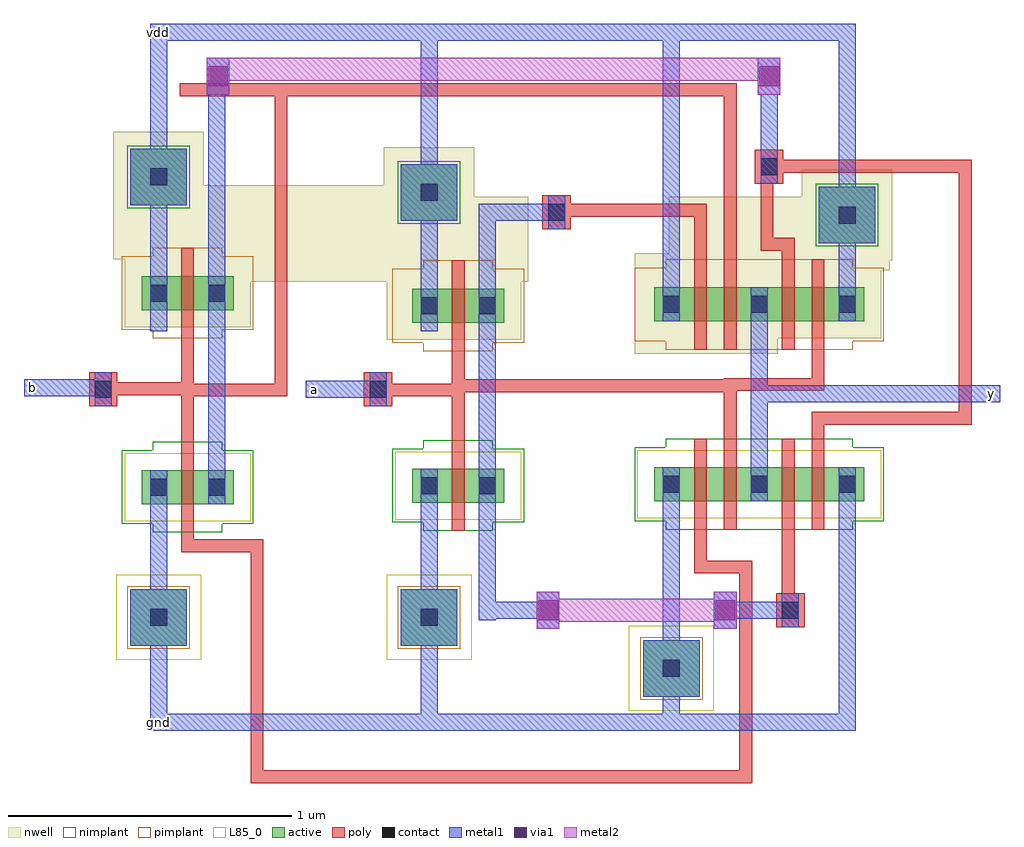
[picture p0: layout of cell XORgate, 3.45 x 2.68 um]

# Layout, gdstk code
from math import pi, radians
import gdstk
lib = gdstk.Library(unit=1e-6, precision=5e-10)
def R(c, l, rs):  # rectangles x0, y0, x1, y1
    for r in rs: c.add(gdstk.rectangle(r[:2], r[2:], *l))
active = (1, 0)
nwell = (2, 0)
poly = (3, 0)
nimplant = (4, 0)
pimplant = (5, 0)
contact = (6, 0)
metal1 = (7, 0)
via1 = (8, 0)
metal2 = (9, 0)
L85_0 = (85, 0)

pmos1v_cdns_761013523100 = lib.new_cell('pmos1v_CDNS_761013523100')
R(pmos1v_cdns_761013523100, active, [(-0.14,0,0,0.12), (0,0,0.045,0.12), (0.045,0,0.185,0.12)])
R(pmos1v_cdns_761013523100, nwell, [(-0.2,-0.06,0.245,0.18)])
R(pmos1v_cdns_761013523100, poly, [(0,-0.1,0.045,-0.05), (0,-0.05,0.045,0), (0,0,0.045,0.12), (0,0.12,0.045,0.17), (0,0.17,0.045,0.22)])
R(pmos1v_cdns_761013523100, pimplant, [(-0.1,-0.1,0.145,0.22), (-0.21,-0.07,0.255,0.19)])
R(pmos1v_cdns_761013523100, contact, [(-0.11,0.03,-0.05,0.09), (0.095,0.03,0.155,0.09)])
R(pmos1v_cdns_761013523100, metal1, [(-0.11,0,-0.05,0.12), (0.095,0,0.155,0.12)])

nmos1v_cdns_761013523101 = lib.new_cell('nmos1v_CDNS_761013523101')
R(nmos1v_cdns_761013523101, active, [(-0.14,0,0,0.12), (0,0,0.045,0.12), (0.045,0,0.185,0.12)])
R(nmos1v_cdns_761013523101, poly, [(0,-0.1,0.045,-0.05), (0,-0.05,0.045,0), (0,0,0.045,0.12), (0,0.12,0.045,0.17), (0,0.17,0.045,0.22)])
R(nmos1v_cdns_761013523101, nimplant, [(-0.1,-0.1,0.145,0.22), (-0.21,-0.07,0.255,0.19)])
R(nmos1v_cdns_761013523101, contact, [(-0.11,0.03,-0.05,0.09), (0.095,0.03,0.155,0.09)])
R(nmos1v_cdns_761013523101, metal1, [(-0.11,0,-0.05,0.12), (0.095,0,0.155,0.12)])
R(nmos1v_cdns_761013523101, L85_0, [(-0.2,-0.06,0.245,0.18)])

pmos1v_cdns_761013523102 = lib.new_cell('pmos1v_CDNS_761013523102')
R(pmos1v_cdns_761013523102, active, [(-0.03,0,0,0.12), (0,0,0.045,0.12), (0.045,0,0.095,0.12)])
R(pmos1v_cdns_761013523102, nwell, [(-0.09,-0.06,0.155,0.18)])
R(pmos1v_cdns_761013523102, poly, [(0,-0.1,0.045,-0.05), (0,-0.05,0.045,0), (0,0,0.045,0.12), (0,0.12,0.045,0.17), (0,0.17,0.045,0.22)])
R(pmos1v_cdns_761013523102, pimplant, [(-0.1,-0.1,0.145,0.22), (-0.1,-0.07,0.165,0.19)])

nmos1v_cdns_761013523103 = lib.new_cell('nmos1v_CDNS_761013523103')
R(nmos1v_cdns_761013523103, active, [(-0.03,0,0,0.12), (0,0,0.045,0.12), (0.045,0,0.095,0.12)])
R(nmos1v_cdns_761013523103, poly, [(0,-0.1,0.045,-0.05), (0,-0.05,0.045,0), (0,0,0.045,0.12), (0,0.12,0.045,0.17), (0,0.17,0.045,0.22)])
R(nmos1v_cdns_761013523103, nimplant, [(-0.1,-0.1,0.145,0.22), (-0.1,-0.07,0.165,0.19)])
R(nmos1v_cdns_761013523103, L85_0, [(-0.09,-0.06,0.155,0.18)])

pmos1v_cdns_761013523104 = lib.new_cell('pmos1v_CDNS_761013523104')
R(pmos1v_cdns_761013523104, active, [(-0.14,0,0,0.12), (0,0,0.045,0.12), (0.045,0,0.075,0.12)])
R(pmos1v_cdns_761013523104, nwell, [(-0.2,-0.06,0.135,0.18)])
R(pmos1v_cdns_761013523104, poly, [(0,-0.1,0.045,-0.05), (0,-0.05,0.045,0), (0,0,0.045,0.12), (0,0.12,0.045,0.17), (0,0.17,0.045,0.22)])
R(pmos1v_cdns_761013523104, pimplant, [(-0.1,-0.1,0.145,0.22), (-0.21,-0.07,0.145,0.19)])
R(pmos1v_cdns_761013523104, contact, [(-0.11,0.03,-0.05,0.09)])
R(pmos1v_cdns_761013523104, metal1, [(-0.11,0,-0.05,0.12)])

pmos1v_cdns_761013523105 = lib.new_cell('pmos1v_CDNS_761013523105')
R(pmos1v_cdns_761013523105, active, [(-0.03,0,0,0.12), (0,0,0.045,0.12), (0.045,0,0.155,0.12)])
R(pmos1v_cdns_761013523105, nwell, [(-0.09,-0.06,0.215,0.18)])
R(pmos1v_cdns_761013523105, poly, [(0,-0.1,0.045,-0.05), (0,-0.05,0.045,0), (0,0,0.045,0.12), (0,0.12,0.045,0.17), (0,0.17,0.045,0.22)])
R(pmos1v_cdns_761013523105, pimplant, [(-0.1,-0.1,0.145,0.22), (-0.1,-0.07,0.225,0.19)])
R(pmos1v_cdns_761013523105, contact, [(0.095,0.03,0.155,0.09)])
R(pmos1v_cdns_761013523105, metal1, [(0.095,0,0.155,0.12)])

nmos1v_cdns_761013523106 = lib.new_cell('nmos1v_CDNS_761013523106')
R(nmos1v_cdns_761013523106, active, [(-0.14,0,0,0.12), (0,0,0.045,0.12), (0.045,0,0.075,0.12)])
R(nmos1v_cdns_761013523106, poly, [(0,-0.1,0.045,-0.05), (0,-0.05,0.045,0), (0,0,0.045,0.12), (0,0.12,0.045,0.17), (0,0.17,0.045,0.22)])
R(nmos1v_cdns_761013523106, nimplant, [(-0.1,-0.1,0.145,0.22), (-0.21,-0.07,0.145,0.19)])
R(nmos1v_cdns_761013523106, contact, [(-0.11,0.03,-0.05,0.09)])
R(nmos1v_cdns_761013523106, metal1, [(-0.11,0,-0.05,0.12)])
R(nmos1v_cdns_761013523106, L85_0, [(-0.2,-0.06,0.135,0.18)])

nmos1v_cdns_761013523107 = lib.new_cell('nmos1v_CDNS_761013523107')
R(nmos1v_cdns_761013523107, active, [(-0.11,0,0,0.12), (0,0,0.045,0.12), (0.045,0,0.075,0.12)])
R(nmos1v_cdns_761013523107, poly, [(0,-0.1,0.045,-0.05), (0,-0.05,0.045,0), (0,0,0.045,0.12), (0,0.12,0.045,0.17), (0,0.17,0.045,0.22)])
R(nmos1v_cdns_761013523107, nimplant, [(-0.1,-0.1,0.145,0.22), (-0.18,-0.07,0.145,0.19)])
R(nmos1v_cdns_761013523107, contact, [(-0.11,0.03,-0.05,0.09)])
R(nmos1v_cdns_761013523107, metal1, [(-0.11,0,-0.05,0.12)])
R(nmos1v_cdns_761013523107, L85_0, [(-0.17,-0.06,0.135,0.18)])

nmos1v_cdns_761013523108 = lib.new_cell('nmos1v_CDNS_761013523108')
R(nmos1v_cdns_761013523108, active, [(-0.14,0,0,0.12), (0,0,0.045,0.12), (0.045,0,0.075,0.12)])
R(nmos1v_cdns_761013523108, poly, [(0,-0.1,0.045,-0.05), (0,-0.05,0.045,0), (0,0,0.045,0.12), (0,0.12,0.045,0.17), (0,0.17,0.045,0.22)])
R(nmos1v_cdns_761013523108, nimplant, [(-0.1,-0.1,0.145,0.22), (-0.21,-0.07,0.145,0.19)])
R(nmos1v_cdns_761013523108, contact, [(-0.11,0.03,-0.05,0.09)])
R(nmos1v_cdns_761013523108, metal1, [(-0.11,0,-0.05,0.12)])
R(nmos1v_cdns_761013523108, L85_0, [(-0.2,-0.06,0.135,0.18)])

m1_nwell_cdns_7610135231 = lib.new_cell('M1_NWELL_CDNS_761013523100')
R(m1_nwell_cdns_7610135231, active, [(-0.1,-0.1,0.1,0.1)])
R(m1_nwell_cdns_7610135231, nwell, [(-0.16,-0.16,0.16,0.16)])
R(m1_nwell_cdns_7610135231, nimplant, [(-0.11,-0.11,0.11,0.11)])
R(m1_nwell_cdns_7610135231, contact, [(-0.03,-0.03,0.03,0.03)])
R(m1_nwell_cdns_7610135231, metal1, [(-0.1,-0.1,0.1,0.1)])

m1_psub_cdns_76101352310 = lib.new_cell('M1_PSUB_CDNS_761013523101')
R(m1_psub_cdns_76101352310, active, [(-0.1,-0.1,0.1,0.1)])
R(m1_psub_cdns_76101352310, pimplant, [(-0.11,-0.11,0.11,0.11)])
R(m1_psub_cdns_76101352310, contact, [(-0.03,-0.03,0.03,0.03)])
R(m1_psub_cdns_76101352310, metal1, [(-0.1,-0.1,0.1,0.1)])
R(m1_psub_cdns_76101352310, L85_0, [(-0.15,-0.15,0.15,0.15)])

m1_po_cdns_761013523102 = lib.new_cell('M1_PO_CDNS_761013523102')
R(m1_po_cdns_761013523102, poly, [(-0.05,-0.06,0.05,0.06)])
R(m1_po_cdns_761013523102, contact, [(-0.03,-0.03,0.03,0.03)])
R(m1_po_cdns_761013523102, metal1, [(-0.03,-0.06,0.03,0.06)])

m2_m1_cdns_761013523103 = lib.new_cell('M2_M1_CDNS_761013523103')
R(m2_m1_cdns_761013523103, metal1, [(-0.04,-0.065,0.04,0.065)])
R(m2_m1_cdns_761013523103, via1, [(-0.035,-0.035,0.035,0.035)])
R(m2_m1_cdns_761013523103, metal2, [(-0.04,-0.065,0.04,0.065)])

xorgate = lib.new_cell('XORgate')
R(xorgate, nwell, [(2.155,-1.51,2.66,-1.155), (1.28,-1.46,1.31,-1.255), (2.275,-1.28,2.755,-0.955), (0.625,-1.255,1.28,-0.915), (1.28,-1.255,1.58,-1.21), (1.58,-1.255,1.78,-0.955), (1.275,-1.22,1.58,-1.1), (2.755,-1.215,3.055,-1.19), (2.555,-1.19,3.055,-0.955), (2.795,-1.185,2.93,-1.175), (0.315,-1.175,0.625,-1.045), (1.49,-1.1,1.495,-1.095)])
R(xorgate, metal1, [(0.445,-2.84,0.505,-2.78), (3.385,-1.68,3.445,-1.62), (0.995,-1.665,1.055,-1.605), (0,-1.66,0.06,-1.6), (0.445,-0.405,0.505,-0.345)])
xorgate.add(gdstk.FlexPath([(2.4925,-0.5775),(0.9075,-0.5775)], 0.045, ends="extended", simple_path=True, layer=3, datatype=0))  # poly
xorgate.add(gdstk.FlexPath([(0.5775,-2.14),(0.5775,-2.1875)], 0.045, ends=(0, 0.0225), simple_path=True, layer=3, datatype=0))  # poly
xorgate.add(gdstk.FlexPath([(0.5775,-2.1875),(0.8225,-2.1875)], 0.045, ends="extended", simple_path=True, layer=3, datatype=0))  # poly
xorgate.add(gdstk.FlexPath([(2.5475,-3.0025),(2.5475,-3.025)], 0.045, ends=(0.0225, 0), simple_path=True, layer=3, datatype=0))  # poly
xorgate.add(gdstk.FlexPath([(2.6225,-0.8475),(2.6225,-0.8175)], 0.045, ends=(0.0225, 0), simple_path=True, layer=3, datatype=0))  # poly
xorgate.add(gdstk.FlexPath([(2.6975,-1.175),(2.6975,-1.1225)], 0.045, ends=(0, 0.0225), simple_path=True, layer=3, datatype=0))  # poly
xorgate.add(gdstk.FlexPath([(2.6225,-1.1225),(2.6225,-0.8475)], 0.045, ends="extended", simple_path=True, layer=3, datatype=0))  # poly
xorgate.add(gdstk.FlexPath([(2.8025,-1.81),(2.8025,-1.7375)], 0.045, ends=(0, 0.0225), simple_path=True, layer=3, datatype=0))  # poly
xorgate.add(gdstk.FlexPath([(2.6975,-2.4175),(2.69,-2.4175)], 0.045, ends=(0.0225, 0), simple_path=True, layer=3, datatype=0))  # poly
xorgate.add(gdstk.FlexPath([(2.6975,-2.13),(2.6975,-2.4175)], 0.045, ends=(0, 0.0225), simple_path=True, layer=3, datatype=0))  # poly
xorgate.add(gdstk.FlexPath([(0.8225,-2.1875),(0.8225,-3.0025)], 0.045, ends="extended", simple_path=True, layer=3, datatype=0))  # poly
xorgate.add(gdstk.FlexPath([(2.3875,-2.13),(2.3875,-2.2625)], 0.045, ends=(0, 0.0225), simple_path=True, layer=3, datatype=0))  # poly
xorgate.add(gdstk.FlexPath([(0.8225,-3.0025),(2.5475,-3.0025)], 0.045, ends="extended", simple_path=True, layer=3, datatype=0))  # poly
xorgate.add(gdstk.FlexPath([(2.3875,-2.2625),(2.5475,-2.2625)], 0.045, ends="extended", simple_path=True, layer=3, datatype=0))  # poly
xorgate.add(gdstk.FlexPath([(0.58,-1.6375),(0.9075,-1.6375)], 0.045, ends=(0, 0.0225), simple_path=True, layer=3, datatype=0))  # poly
xorgate.add(gdstk.FlexPath([(0.9075,-1.6375),(0.9075,-0.5775)], 0.045, ends="extended", simple_path=True, layer=3, datatype=0))  # poly
xorgate.add(gdstk.FlexPath([(0.9075,-0.5775),(0.55,-0.5775)], 0.045, ends=(0.0225, 0), simple_path=True, layer=3, datatype=0))  # poly
xorgate.add(gdstk.FlexPath([(2.4925,-1.175),(2.4925,-0.5775)], 0.045, ends=(0, 0.0225), simple_path=True, layer=3, datatype=0))  # poly
xorgate.add(gdstk.FlexPath([(1.8775,-1.0025),(1.8775,-1.045)], 0.045, ends=(0.0225, 0), simple_path=True, layer=3, datatype=0))  # poly
xorgate.add(gdstk.FlexPath([(2.3875,-1.0025),(1.8775,-1.0025)], 0.045, ends="extended", simple_path=True, layer=3, datatype=0))  # poly
xorgate.add(gdstk.FlexPath([(2.3875,-1.175),(2.3875,-1.0025)], 0.045, ends=(0, 0.0225), simple_path=True, layer=3, datatype=0))  # poly
xorgate.add(gdstk.FlexPath([(2.8025,-1.7375),(3.3225,-1.7375)], 0.045, ends="extended", simple_path=True, layer=3, datatype=0))  # poly
xorgate.add(gdstk.FlexPath([(3.3225,-1.7375),(3.3225,-0.8475)], 0.045, ends="extended", simple_path=True, layer=3, datatype=0))  # poly
xorgate.add(gdstk.FlexPath([(2.6975,-1.1225),(2.6225,-1.1225)], 0.045, ends="extended", simple_path=True, layer=3, datatype=0))  # poly
xorgate.add(gdstk.FlexPath([(3.3225,-0.8475),(2.6225,-0.8475)], 0.045, ends="extended", simple_path=True, layer=3, datatype=0))  # poly
xorgate.add(gdstk.FlexPath([(1.5325,-1.6225),(1.5325,-1.6375)], 0.045, ends="extended", simple_path=True, layer=3, datatype=0))  # poly
xorgate.add(gdstk.FlexPath([(2.4925,-1.6225),(1.5325,-1.6225)], 0.045, ends="extended", simple_path=True, layer=3, datatype=0))  # poly
xorgate.add(gdstk.FlexPath([(2.8025,-1.6175),(2.4925,-1.6175)], 0.045, ends="extended", simple_path=True, layer=3, datatype=0))  # poly
xorgate.add(gdstk.FlexPath([(2.4925,-1.81),(2.4925,-1.6225)], 0.045, ends=(0, 0.0225), simple_path=True, layer=3, datatype=0))  # poly
xorgate.add(gdstk.FlexPath([(2.4925,-1.6175),(2.47,-1.6175)], 0.045, ends=(0.0225, 0), simple_path=True, layer=3, datatype=0))  # poly
xorgate.add(gdstk.FlexPath([(2.8025,-1.495),(2.8025,-1.6175)], 0.045, ends=(0, 0.0225), simple_path=True, layer=3, datatype=0))  # poly
xorgate.add(gdstk.FlexPath([(1.5325,-1.6375),(1.25,-1.6375)], 0.045, ends=(0.0225, 0), simple_path=True, layer=3, datatype=0))  # poly
xorgate.add(gdstk.FlexPath([(1.5325,-1.6375),(1.5325,-1.815)], 0.045, ends=(0.0225, 0), simple_path=True, layer=3, datatype=0))  # poly
xorgate.add(gdstk.FlexPath([(0.2775,-1.6325),(0.2775,-1.635)], 0.045, ends=(0.0225, 0), simple_path=True, layer=3, datatype=0))  # poly
xorgate.add(gdstk.FlexPath([(0.5775,-1.6325),(0.5775,-1.825)], 0.045, ends=(0.0225, 0), simple_path=True, layer=3, datatype=0))  # poly
xorgate.add(gdstk.FlexPath([(0.5775,-1.6325),(0.2775,-1.6325)], 0.045, ends="extended", simple_path=True, layer=3, datatype=0))  # poly
xorgate.add(gdstk.FlexPath([(0.5775,-1.455),(0.5775,-1.6325)], 0.045, ends=(0, 0.0225), simple_path=True, layer=3, datatype=0))  # poly
xorgate.add(gdstk.FlexPath([(1.5325,-1.6225),(1.5325,-1.5)], 0.045, ends=(0.0225, 0), simple_path=True, layer=3, datatype=0))  # poly
xorgate.add(gdstk.FlexPath([(2.5475,-2.2625),(2.5475,-3.0025)], 0.045, ends="extended", simple_path=True, layer=3, datatype=0))  # poly
xorgate.add(gdstk.FlexPath([(2.63,-0.53),(2.63,-0.85)], 0.06, ends="flush", simple_path=True, layer=7, datatype=0))  # metal1
xorgate.add(gdstk.FlexPath([(1.635,-2.415),(1.635,-2.42)], 0.06, ends="extended", simple_path=True, layer=7, datatype=0))  # metal1
xorgate.add(gdstk.FlexPath([(1.85,-2.415),(1.635,-2.415)], 0.06, ends=(0, 0.03), simple_path=True, layer=7, datatype=0))  # metal1
xorgate.add(gdstk.FlexPath([(1.635,-2.42),(1.645,-2.42)], 0.06, ends=(0.03, 0), simple_path=True, layer=7, datatype=0))  # metal1
xorgate.add(gdstk.FlexPath([(1.635,-2.035),(1.635,-2.415)], 0.06, ends=(0, 0.03), simple_path=True, layer=7, datatype=0))  # metal1
xorgate.add(gdstk.FlexPath([(0.68,-0.53),(0.685,-0.53)], 0.06, ends=(0.03, 0), simple_path=True, layer=7, datatype=0))  # metal1
xorgate.add(gdstk.FlexPath([(1.635,-1.01),(1.88,-1.01)], 0.06, ends=(0.03, 0), simple_path=True, layer=7, datatype=0))  # metal1
xorgate.add(gdstk.FlexPath([(1.635,-1.28),(1.635,-1.01)], 0.06, ends=(0, 0.03), simple_path=True, layer=7, datatype=0))  # metal1
xorgate.add(gdstk.FlexPath([(0.68,-1.235),(0.68,-0.53)], 0.06, ends=(0, 0.03), simple_path=True, layer=7, datatype=0))  # metal1
xorgate.add(gdstk.FlexPath([(2.285,-2.81),(1.43,-2.81)], 0.06, ends="extended", simple_path=True, layer=7, datatype=0))  # metal1
xorgate.add(gdstk.FlexPath([(2.935,-2.81),(2.285,-2.81)], 0.06, ends=(0, 0.03), simple_path=True, layer=7, datatype=0))  # metal1
xorgate.add(gdstk.FlexPath([(2.905,-2.65),(2.905,-2.81)], 0.06, ends=(0.03, 0), simple_path=True, layer=7, datatype=0))  # metal1
xorgate.add(gdstk.FlexPath([(1.43,-2.81),(0.505,-2.81)], 0.06, ends=(0.03, 0), simple_path=True, layer=7, datatype=0))  # metal1
xorgate.add(gdstk.FlexPath([(1.43,-0.375),(2.285,-0.375)], 0.06, ends="extended", simple_path=True, layer=7, datatype=0))  # metal1
xorgate.add(gdstk.FlexPath([(0.505,-0.375),(1.43,-0.375)], 0.06, ends=(0, 0.03), simple_path=True, layer=7, datatype=0))  # metal1
xorgate.add(gdstk.FlexPath([(2.285,-0.375),(2.905,-0.375)], 0.06, ends="extended", simple_path=True, layer=7, datatype=0))  # metal1
xorgate.add(gdstk.FlexPath([(0.475,-0.405),(0.475,-0.54)], 0.06, ends=(0, 0.03), simple_path=True, layer=7, datatype=0))  # metal1
xorgate.add(gdstk.FlexPath([(1.25,-1.635),(1.055,-1.635)], 0.06, ends="flush", simple_path=True, layer=7, datatype=0))  # metal1
xorgate.add(gdstk.FlexPath([(0.28,-1.63),(0.28,-1.635)], 0.06, ends=(0.03, 0), simple_path=True, layer=7, datatype=0))  # metal1
xorgate.add(gdstk.FlexPath([(0.06,-1.63),(0.28,-1.63)], 0.06, ends=(0, 0.03), simple_path=True, layer=7, datatype=0))  # metal1
xorgate.add(gdstk.FlexPath([(0.475,-2.81),(0.475,-1.99)], 0.06, ends="flush", simple_path=True, layer=7, datatype=0))  # metal1
xorgate.add(gdstk.FlexPath([(1.43,-1.99),(1.43,-2.81)], 0.06, ends=(0, 0.03), simple_path=True, layer=7, datatype=0))  # metal1
xorgate.add(gdstk.FlexPath([(1.43,-1.43),(1.43,-0.375)], 0.06, ends=(0, 0.03), simple_path=True, layer=7, datatype=0))  # metal1
xorgate.add(gdstk.FlexPath([(0.475,-0.54),(0.445,-0.54)], 0.06, ends=(0.03, 0), simple_path=True, layer=7, datatype=0))  # metal1
xorgate.add(gdstk.FlexPath([(0.475,-1.43),(0.475,-0.54)], 0.06, ends=(0, 0.03), simple_path=True, layer=7, datatype=0))  # metal1
xorgate.add(gdstk.FlexPath([(0.68,-1.925),(0.68,-1.355)], 0.06, ends="flush", simple_path=True, layer=7, datatype=0))  # metal1
xorgate.add(gdstk.FlexPath([(1.635,-1.915),(1.635,-1.4)], 0.06, ends="flush", simple_path=True, layer=7, datatype=0))  # metal1
xorgate.add(gdstk.FlexPath([(2.285,-2.03),(2.285,-2.81)], 0.06, ends=(0, 0.03), simple_path=True, layer=7, datatype=0))  # metal1
xorgate.add(gdstk.FlexPath([(2.285,-1.275),(2.285,-0.375)], 0.06, ends=(0, 0.03), simple_path=True, layer=7, datatype=0))  # metal1
xorgate.add(gdstk.FlexPath([(2.475,-2.415),(2.705,-2.415)], 0.06, ends="flush", simple_path=True, layer=7, datatype=0))  # metal1
xorgate.add(gdstk.FlexPath([(2.905,-2.65),(2.895,-2.65)], 0.06, ends=(0.03, 0), simple_path=True, layer=7, datatype=0))  # metal1
xorgate.add(gdstk.FlexPath([(2.905,-2.03),(2.905,-2.65)], 0.06, ends=(0, 0.03), simple_path=True, layer=7, datatype=0))  # metal1
xorgate.add(gdstk.FlexPath([(2.905,-0.375),(2.905,-1.275)], 0.06, ends=(0.03, 0), simple_path=True, layer=7, datatype=0))  # metal1
xorgate.add(gdstk.FlexPath([(2.595,-1.395),(2.595,-1.65)], 0.06, ends=(0, 0.03), simple_path=True, layer=7, datatype=0))  # metal1
xorgate.add(gdstk.FlexPath([(3.415,-1.65),(2.595,-1.65)], 0.06, ends=(0, 0.03), simple_path=True, layer=7, datatype=0))  # metal1
xorgate.add(gdstk.FlexPath([(2.595,-1.65),(2.595,-1.91)], 0.06, ends=(0.03, 0), simple_path=True, layer=7, datatype=0))  # metal1
xorgate.add(gdstk.FlexPath([(0.685,-0.53),(0.685,-0.505)], 0.08, ends=(0, 0.04), simple_path=True, layer=9, datatype=0))  # metal2
xorgate.add(gdstk.FlexPath([(2.475,-2.415),(1.85,-2.415)], 0.08, ends="flush", simple_path=True, layer=9, datatype=0))  # metal2
xorgate.add(gdstk.FlexPath([(2.63,-0.505),(2.63,-0.53)], 0.08, ends=(0.04, 0), simple_path=True, layer=9, datatype=0))  # metal2
xorgate.add(gdstk.FlexPath([(0.685,-0.505),(2.63,-0.505)], 0.08, ends="extended", simple_path=True, layer=9, datatype=0))  # metal2
xorgate.add(gdstk.Reference(pmos1v_cdns_761013523100, (0.555,-1.355)))
xorgate.add(gdstk.Reference(pmos1v_cdns_761013523100, (1.51,-1.4)))
xorgate.add(gdstk.Reference(nmos1v_cdns_761013523101, (0.555,-2.04)))
xorgate.add(gdstk.Reference(nmos1v_cdns_761013523101, (1.51,-2.035)))
xorgate.add(gdstk.Reference(pmos1v_cdns_761013523102, (2.47,-1.395)))
xorgate.add(gdstk.Reference(nmos1v_cdns_761013523103, (2.72,-2.03), rotation=pi, x_reflection=True))
xorgate.add(gdstk.Reference(pmos1v_cdns_761013523104, (2.825,-1.275), rotation=pi))
xorgate.add(gdstk.Reference(pmos1v_cdns_761013523104, (2.365,-1.395)))
xorgate.add(gdstk.Reference(pmos1v_cdns_761013523105, (2.72,-1.395), rotation=pi, x_reflection=True))
xorgate.add(gdstk.Reference(nmos1v_cdns_761013523106, (2.825,-2.03), rotation=pi, x_reflection=True))
xorgate.add(gdstk.Reference(nmos1v_cdns_761013523107, (2.515,-2.03), rotation=pi, x_reflection=True))
xorgate.add(gdstk.Reference(nmos1v_cdns_761013523108, (2.365,-2.03)))
xorgate.add(gdstk.Reference(m1_nwell_cdns_7610135231, (2.905,-1.02)))
xorgate.add(gdstk.Reference(m1_nwell_cdns_7610135231, (1.43,-0.94)))
xorgate.add(gdstk.Reference(m1_nwell_cdns_7610135231, (0.475,-0.885)))
xorgate.add(gdstk.Reference(m1_psub_cdns_76101352310, (2.285,-2.62)))
xorgate.add(gdstk.Reference(m1_psub_cdns_76101352310, (1.43,-2.44)))
xorgate.add(gdstk.Reference(m1_psub_cdns_76101352310, (0.475,-2.44)))
xorgate.add(gdstk.Reference(m1_po_cdns_761013523102, (2.705,-2.415)))
xorgate.add(gdstk.Reference(m1_po_cdns_761013523102, (1.88,-1.01)))
xorgate.add(gdstk.Reference(m1_po_cdns_761013523102, (2.63,-0.85)))
xorgate.add(gdstk.Reference(m1_po_cdns_761013523102, (1.25,-1.635)))
xorgate.add(gdstk.Reference(m1_po_cdns_761013523102, (0.28,-1.635)))
xorgate.add(gdstk.Reference(m2_m1_cdns_761013523103, (2.475,-2.415)))
xorgate.add(gdstk.Reference(m2_m1_cdns_761013523103, (1.85,-2.415)))
xorgate.add(gdstk.Reference(m2_m1_cdns_761013523103, (2.63,-0.53)))
xorgate.add(gdstk.Reference(m2_m1_cdns_761013523103, (0.685,-0.53)))
xorgate.add(gdstk.Label('y', (3.415,-1.65), layer=7, texttype=3))
xorgate.add(gdstk.Label('gnd', (0.475,-2.81), layer=7, texttype=3))
xorgate.add(gdstk.Label('vdd', (0.475,-0.375), layer=7, texttype=3))
xorgate.add(gdstk.Label('b', (0.03,-1.63), layer=7, texttype=3))
xorgate.add(gdstk.Label('a', (1.025,-1.635), layer=7, texttype=3))

lib.write_gds('XORgate.gds')
